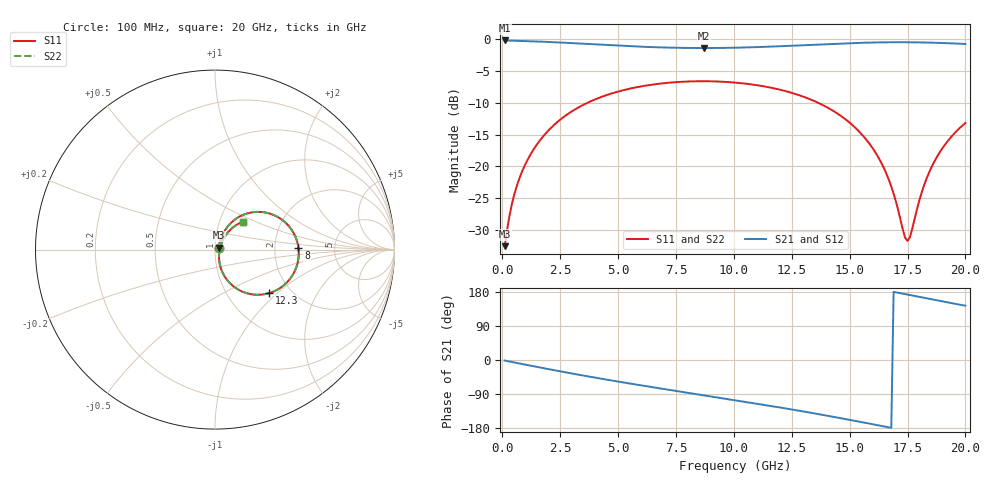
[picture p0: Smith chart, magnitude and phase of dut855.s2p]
! Touchstone file exported from HFSS 2026.1.0
!  File:  C:/ffzhzh/LocalFiles/Ansys_Project_Files/temp_train_TSV_RDL_855_1783269976_5512.aedt
!  Generated:  12:57:44 AM Jul  6, 2026
!  Design:  TSV_RDL
!  Project:  temp_train_TSV_RDL_855_1783269976_5512
! Variables:
!  h_bsmrdl = 5.18um
!  h_ox = 20um
!  h_rdl = 5um
!  h_sub = 57.36um
!  h_tmrdl = 2.11um
!  h_tsv = 57.36um
!  h_via = 3um
!  l_bsmrdl = 421.42um
!  l_sub = 3738.73um
!  l_tmrdl = 487.17um
!  m_sub = 200um
!  pitch = 40.9um
!  r_tsv = 5.45um
!  s_tmrdl = 10um
!  w_bsmrdl = 12.3um
!  w_sub = 500um
!  w_tmrdl = 29.63um
!  x_tsv_center1 = 501.985um
!  x_tsv_center2 = 935.705um
!  x_tsv_center3 = 1452.505um
!  x_tsv_center4 = 1886.225um
!  x_tsv_center5 = 2403.025um
!  x_tsv_center6 = 2836.745um
# GHz S MA R 50.000000
! Terminal data exported
! Port[1] = TM_RDL1_1_T1
! Port[2] = TM_RDL5_1_T1
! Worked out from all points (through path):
!   200 points, 100 MHz to 20 GHz, reference 50 ohm
!   highest |S21| = -0.18 dB at 100 MHz (marker M1); lowest = -1.4 dB at 8.7 GHz (marker M2)
!   group delay of S21, straight-line fit = 29.1 ps
!   lowest |S11| = -32.6 dB at 100 MHz (marker M3), VSWR 1.05, Z = 52.1 + j1.14 ohm
!   |S11| at or under -10 dB: start of sweep to 3.679 GHz; 13.64 GHz to end of sweep
!   |S22| runs from -32.6 to -6.6 dB; largest |S21 - S12| = 2.5e-14
!   S11 on the Smith chart (normalised r, x): 100 MHz: 1.04, +0.02; 8 GHz: 2.74, +0.06; 12.3 GHz: 1.56, -0.89; 20 GHz: 1.29, +0.42
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0.1  0.02346 27.7  0.9794 -1.3  0.9794 -1.3  0.02346 27.7
! Gamma 0 0 0 0
! Port Impedance 50 0 50 0
0.5  0.05829 59.4  0.9746 -6.3  0.9746 -6.3  0.05829 59.4
1.2  0.1221 62.5  0.9656 -14.7  0.9656 -14.7  0.1221 62.5
2.2  0.2086 55.7  0.9493 -26.4  0.9493 -26.4  0.2086 55.7
3.5  0.3047 43.4  0.9224 -41.1  0.9224 -41.1  0.3047 43.4
5.1  0.3919 27.9  0.8894 -57.9  0.8894 -57.9  0.3919 27.9
6.8  0.4474 12.0  0.864 -74.8  0.864 -74.8  0.4474 12.0
8  0.4651 1.0  0.855 -86.4  0.855 -86.4  0.4651 1.0
8.7  0.4675 -5.3  0.8536 -93.0  0.8536 -93.0  0.4675 -5.3
10.1  0.4553 -18.1  0.8591 -106.4  0.8591 -106.4  0.4553 -18.0
12.3  0.3878 -38.6  0.8868 -128.4  0.8868 -128.4  0.3878 -38.6
13.4  0.3308 -49.2  0.9059 -140.1  0.9059 -140.1  0.3308 -49.2
15.4  0.1886 -67.6  0.9375 -162.5  0.9375 -162.5  0.1886 -67.6
16.1  0.1297 -72.0  0.9446 -170.7  0.9446 -170.7  0.1297 -72.0
16.7  0.07774 -71.0  0.948 -177.9  0.948 -177.9  0.07774 -71.0
17.4  0.02732 -27.7  0.9484 173.8  0.9484 173.8  0.0273 -27.7
17.5  0.0258 -9.1  0.9482 172.6  0.9482 172.6  0.02578 -9.1
17.6  0.02748 9.4  0.9478 171.4  0.9478 171.4  0.02746 9.4
18.2  0.0695 50.5  0.9442 164.2  0.9442 164.2  0.06949 50.5
18.6  0.1038 53.3  0.9403 159.5  0.9403 159.5  0.1038 53.3
19.2  0.1549 51.3  0.9325 152.4  0.9325 152.4  0.1549 51.3
20  0.2192 45.2  0.9192 143.2  0.9192 143.2  0.2192 45.2
